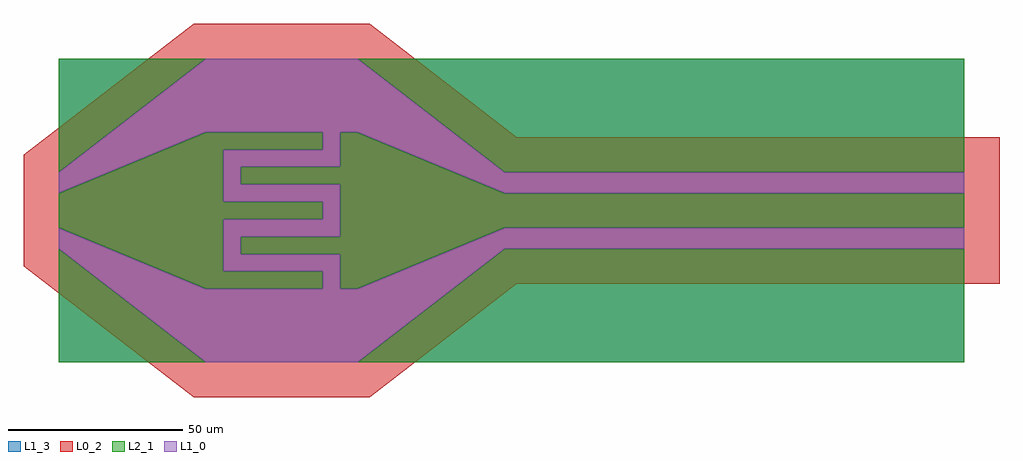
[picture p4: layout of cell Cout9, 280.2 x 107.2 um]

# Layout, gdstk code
import gdstk
lib = gdstk.Library(unit=1e-6, precision=1e-09)
def R(c, l, rs):  # rectangles x0, y0, x1, y1
    for r in rs: c.add(gdstk.rectangle(r[:2], r[2:], *l))
def P(c, l, *ps):  # polygons
    for p in ps: c.add(gdstk.Polygon(p, *l))
L0_2 = (0, 2)
L1_0 = (1, 0)
L1_3 = (1, 3)
L2_1 = (2, 1)

cout9 = lib.new_cell('Cout9')
P(cout9, L0_2, [(-91.198,-53.6),(-140.1,-15.972),(-140.1,15.972),(-91.198,53.6),(-40.736,53.6),(1.502,21.1),(140.1,21.1),(140.1,-21.1),(1.502,-21.1),(-40.736,-53.6)])
P(cout9, L1_0, [(-87.762,-43.5),(-130,-11),(-130,-5),(-87.717,-22.5),(-54.217,-22.5),(-54.217,-17.5),(-82.717,-17.5),(-82.717,-2.5),(-54.217,-2.5),(-54.217,2.5),(-82.717,2.5),(-82.717,17.5),(-54.217,17.5),(-54.217,22.5),(-87.717,22.5),(-130,5),(-130,11),(-87.762,43.5),(-44.172,43.5),(-1.934,11),(130,11),(130,5),(-1.934,5),(-44.217,22.5),(-49.217,22.5),(-49.217,12.5),(-77.717,12.5),(-77.717,7.5),(-49.217,7.5),(-49.217,-7.5),(-77.717,-7.5),(-77.717,-12.5),(-49.217,-12.5),(-49.217,-22.5),(-44.217,-22.5),(-1.934,-5),(130,-5),(130,-11),(-1.934,-11),(-44.172,-43.5)])
R(cout9, L1_3, [(-130,-43.5,130,43.5)])
P(cout9, L2_1, [(-130,11),(-130,43.5),(-87.762,43.5)],
  [(-130,-43.5),(-130,-11),(-87.762,-43.5)],
  [(-87.717,-22.5),(-130,-5),(-130,5),(-87.717,22.5),(-54.217,22.5),(-54.217,17.5),(-82.717,17.5),(-82.717,2.5),(-54.217,2.5),(-54.217,-2.5),(-82.717,-2.5),(-82.717,-17.5),(-54.217,-17.5),(-54.217,-22.5)],
  [(-49.217,-22.5),(-49.217,-12.5),(-77.717,-12.5),(-77.717,-7.5),(-49.217,-7.5),(-49.217,7.5),(-77.717,7.5),(-77.717,12.5),(-49.217,12.5),(-49.217,22.5),(-44.217,22.5),(-1.934,5),(130,5),(130,-5),(-1.934,-5),(-44.217,-22.5)],
  [(-44.172,-43.5),(-1.934,-11),(130,-11),(130,-43.5)],
  [(-1.934,11),(-44.172,43.5),(130,43.5),(130,11)])

lib.write_gds('Cout9.gds')
